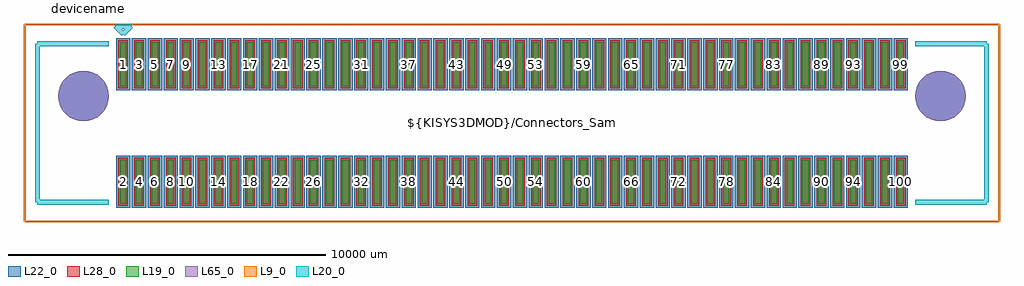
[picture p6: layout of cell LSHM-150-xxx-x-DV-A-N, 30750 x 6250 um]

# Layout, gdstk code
import gdstk
lib = gdstk.Library(unit=1e-6, precision=1e-09)
def R(c, l, rs):  # rectangles x0, y0, x1, y1
    for r in rs: c.add(gdstk.rectangle(r[:2], r[2:], *l))
def A(c, l, x, y, w, h, nx, ny, dx, dy):  # array of equal rectangles
    R(c, l, [(x+i*dx, y+j*dy, x+i*dx+w, y+j*dy+h) for i in range(nx) for j in range(ny)])
def P(c, l, *ps):  # polygons
    for p in ps: c.add(gdstk.Polygon(p, *l))
L9_0 = (9, 0)
L19_0 = (19, 0)
L20_0 = (20, 0)
L22_0 = (22, 0)
L28_0 = (28, 0)
L65_0 = (65, 0)

lshm_150_xxx_x_dv_a_n = lib.new_cell('LSHM-150-xxx-x-DV-A-N')
A(lshm_150_xxx_x_dv_a_n, L19_0, -12350, -2550, 200, 1400, 50, 2, 500, 3700)
A(lshm_150_xxx_x_dv_a_n, L22_0, -12475, -2675, 450, 1650, 50, 2, 500, 3700)
P(lshm_150_xxx_x_dv_a_n, L22_0, [(-12700,850),(-12715.372,1006.072),(-12760.896,1156.147),(-12834.824,1294.456),(-12934.315,1415.685),(-13055.544,1515.176),(-13193.853,1589.104),(-13343.928,1634.628),(-13500,1650),(-13656.072,1634.628),(-13806.147,1589.104),(-13944.456,1515.176),(-14065.685,1415.685),(-14165.176,1294.456),(-14239.104,1156.147),(-14284.628,1006.072),(-14300,850),(-14284.628,693.928),(-14239.104,543.853),(-14165.176,405.544),(-14065.685,284.315),(-13944.456,184.824),(-13806.147,110.896),(-13656.072,65.372),(-13500,50),(-13343.928,65.372),(-13193.853,110.896),(-13055.544,184.824),(-12934.315,284.315),(-12834.824,405.544),(-12760.896,543.853),(-12715.372,693.928)],
  [(14300,850),(14284.628,1006.072),(14239.104,1156.147),(14165.176,1294.456),(14065.685,1415.685),(13944.456,1515.176),(13806.147,1589.104),(13656.072,1634.628),(13500,1650),(13343.928,1634.628),(13193.853,1589.104),(13055.544,1515.176),(12934.315,1415.685),(12834.824,1294.456),(12760.896,1156.147),(12715.372,1006.072),(12700,850),(12715.372,693.928),(12760.896,543.853),(12834.824,405.544),(12934.315,284.315),(13055.544,184.824),(13193.853,110.896),(13343.928,65.372),(13500,50),(13656.072,65.372),(13806.147,110.896),(13944.456,184.824),(14065.685,284.315),(14165.176,405.544),(14239.104,543.853),(14284.628,693.928)])
A(lshm_150_xxx_x_dv_a_n, L28_0, -12400, -2600, 300, 1500, 50, 2, 500, 3700)
P(lshm_150_xxx_x_dv_a_n, L65_0, [(-12700,850),(-12715.372,1006.072),(-12760.896,1156.147),(-12834.824,1294.456),(-12934.315,1415.685),(-13055.544,1515.176),(-13193.853,1589.104),(-13343.928,1634.628),(-13500,1650),(-13656.072,1634.628),(-13806.147,1589.104),(-13944.456,1515.176),(-14065.685,1415.685),(-14165.176,1294.456),(-14239.104,1156.147),(-14284.628,1006.072),(-14300,850),(-14284.628,693.928),(-14239.104,543.853),(-14165.176,405.544),(-14065.685,284.315),(-13944.456,184.824),(-13806.147,110.896),(-13656.072,65.372),(-13500,50),(-13343.928,65.372),(-13193.853,110.896),(-13055.544,184.824),(-12934.315,284.315),(-12834.824,405.544),(-12760.896,543.853),(-12715.372,693.928)],
  [(14300,850),(14284.628,1006.072),(14239.104,1156.147),(14165.176,1294.456),(14065.685,1415.685),(13944.456,1515.176),(13806.147,1589.104),(13656.072,1634.628),(13500,1650),(13343.928,1634.628),(13193.853,1589.104),(13055.544,1515.176),(12934.315,1415.685),(12834.824,1294.456),(12760.896,1156.147),(12715.372,1006.072),(12700,850),(12715.372,693.928),(12760.896,543.853),(12834.824,405.544),(12934.315,284.315),(13055.544,184.824),(13193.853,110.896),(13343.928,65.372),(13500,50),(13656.072,65.372),(13806.147,110.896),(13944.456,184.824),(14065.685,284.315),(14165.176,405.544),(14239.104,543.853),(14284.628,693.928)])
lshm_150_xxx_x_dv_a_n.add(gdstk.FlexPath([(14950,2500),(12700,2500)], 149.998, ends="flush", simple_path=True, layer=20, datatype=0))  # L20_0
lshm_150_xxx_x_dv_a_n.add(gdstk.FlexPath([(-14950,2500),(-12700,2500)], 149.998, ends="flush", simple_path=True, layer=20, datatype=0))  # L20_0
lshm_150_xxx_x_dv_a_n.add(gdstk.FlexPath([(14950,-2500),(12700,-2500)], 149.998, ends="flush", simple_path=True, layer=20, datatype=0))  # L20_0
lshm_150_xxx_x_dv_a_n.add(gdstk.FlexPath([(-14950,-2500),(-12700,-2500)], 149.998, ends="flush", simple_path=True, layer=20, datatype=0))  # L20_0
lshm_150_xxx_x_dv_a_n.add(gdstk.FlexPath([(14950,2500),(14950,-2500)], 149.998, ends="flush", simple_path=True, layer=20, datatype=0))  # L20_0
lshm_150_xxx_x_dv_a_n.add(gdstk.FlexPath([(-14950,2500),(-14950,-2500)], 149.998, ends="flush", simple_path=True, layer=20, datatype=0))  # L20_0
lshm_150_xxx_x_dv_a_n.add(gdstk.FlexPath([(15350,-3100),(15350,3100)], 50, ends="flush", simple_path=True, layer=9, datatype=0))  # L9_0
lshm_150_xxx_x_dv_a_n.add(gdstk.FlexPath([(-15350,-3100),(-15350,3100)], 50, ends="flush", simple_path=True, layer=9, datatype=0))  # L9_0
lshm_150_xxx_x_dv_a_n.add(gdstk.FlexPath([(-15350,3100),(15350,3100)], 50, ends="flush", simple_path=True, layer=9, datatype=0))  # L9_0
lshm_150_xxx_x_dv_a_n.add(gdstk.FlexPath([(-15350,-3100),(15350,-3100)], 50, ends="flush", simple_path=True, layer=9, datatype=0))  # L9_0
lshm_150_xxx_x_dv_a_n.add(gdstk.FlexPath([(-12250,2800),(-12000,3050)], 149.998, ends="flush", simple_path=True, layer=20, datatype=0))  # L20_0
lshm_150_xxx_x_dv_a_n.add(gdstk.FlexPath([(-12000,3050),(-12500,3050)], 149.998, ends="flush", simple_path=True, layer=20, datatype=0))  # L20_0
lshm_150_xxx_x_dv_a_n.add(gdstk.FlexPath([(-12500,3050),(-12250,2800)], 149.998, ends="flush", simple_path=True, layer=20, datatype=0))  # L20_0
lshm_150_xxx_x_dv_a_n.add(gdstk.Label('${KISYS3DMOD}/Connectors_Samtec.3dshapes/LSHM-150-xxx-x-DV-A-N.wrl', (0,0), layer=12, texttype=0))
lshm_150_xxx_x_dv_a_n.add(gdstk.Label('2', (-12250,-1850), layer=28, texttype=0))
lshm_150_xxx_x_dv_a_n.add(gdstk.Label('1', (-12250,1850), layer=28, texttype=0))
lshm_150_xxx_x_dv_a_n.add(gdstk.Label('3', (-11750,1850), layer=28, texttype=0))
lshm_150_xxx_x_dv_a_n.add(gdstk.Label('4', (-11750,-1850), layer=28, texttype=0))
lshm_150_xxx_x_dv_a_n.add(gdstk.Label('8', (-10750,-1850), layer=28, texttype=0))
lshm_150_xxx_x_dv_a_n.add(gdstk.Label('7', (-10750,1850), layer=28, texttype=0))
lshm_150_xxx_x_dv_a_n.add(gdstk.Label('5', (-11250,1850), layer=28, texttype=0))
lshm_150_xxx_x_dv_a_n.add(gdstk.Label('6', (-11250,-1850), layer=28, texttype=0))
lshm_150_xxx_x_dv_a_n.add(gdstk.Label('14', (-9250,-1850), layer=28, texttype=0))
lshm_150_xxx_x_dv_a_n.add(gdstk.Label('13', (-9250,1850), layer=28, texttype=0))
lshm_150_xxx_x_dv_a_n.add(gdstk.Label('15', (-8750,1850), layer=28, texttype=0))
lshm_150_xxx_x_dv_a_n.add(gdstk.Label('16', (-8750,-1850), layer=28, texttype=0))
lshm_150_xxx_x_dv_a_n.add(gdstk.Label('12', (-9750,-1850), layer=28, texttype=0))
lshm_150_xxx_x_dv_a_n.add(gdstk.Label('11', (-9750,1850), layer=28, texttype=0))
lshm_150_xxx_x_dv_a_n.add(gdstk.Label('9', (-10250,1850), layer=28, texttype=0))
lshm_150_xxx_x_dv_a_n.add(gdstk.Label('10', (-10250,-1850), layer=28, texttype=0))
lshm_150_xxx_x_dv_a_n.add(gdstk.Label('26', (-6250,-1850), layer=28, texttype=0))
lshm_150_xxx_x_dv_a_n.add(gdstk.Label('25', (-6250,1850), layer=28, texttype=0))
lshm_150_xxx_x_dv_a_n.add(gdstk.Label('27', (-5750,1850), layer=28, texttype=0))
lshm_150_xxx_x_dv_a_n.add(gdstk.Label('28', (-5750,-1850), layer=28, texttype=0))
lshm_150_xxx_x_dv_a_n.add(gdstk.Label('32', (-4750,-1850), layer=28, texttype=0))
lshm_150_xxx_x_dv_a_n.add(gdstk.Label('31', (-4750,1850), layer=28, texttype=0))
lshm_150_xxx_x_dv_a_n.add(gdstk.Label('29', (-5250,1850), layer=28, texttype=0))
lshm_150_xxx_x_dv_a_n.add(gdstk.Label('30', (-5250,-1850), layer=28, texttype=0))
lshm_150_xxx_x_dv_a_n.add(gdstk.Label('22', (-7250,-1850), layer=28, texttype=0))
lshm_150_xxx_x_dv_a_n.add(gdstk.Label('21', (-7250,1850), layer=28, texttype=0))
lshm_150_xxx_x_dv_a_n.add(gdstk.Label('23', (-6750,1850), layer=28, texttype=0))
lshm_150_xxx_x_dv_a_n.add(gdstk.Label('24', (-6750,-1850), layer=28, texttype=0))
lshm_150_xxx_x_dv_a_n.add(gdstk.Label('20', (-7750,-1850), layer=28, texttype=0))
lshm_150_xxx_x_dv_a_n.add(gdstk.Label('19', (-7750,1850), layer=28, texttype=0))
lshm_150_xxx_x_dv_a_n.add(gdstk.Label('17', (-8250,1850), layer=28, texttype=0))
lshm_150_xxx_x_dv_a_n.add(gdstk.Label('18', (-8250,-1850), layer=28, texttype=0))
lshm_150_xxx_x_dv_a_n.add(gdstk.Label('38', (-3250,-1850), layer=28, texttype=0))
lshm_150_xxx_x_dv_a_n.add(gdstk.Label('37', (-3250,1850), layer=28, texttype=0))
lshm_150_xxx_x_dv_a_n.add(gdstk.Label('39', (-2750,1850), layer=28, texttype=0))
lshm_150_xxx_x_dv_a_n.add(gdstk.Label('40', (-2750,-1850), layer=28, texttype=0))
lshm_150_xxx_x_dv_a_n.add(gdstk.Label('36', (-3750,-1850), layer=28, texttype=0))
lshm_150_xxx_x_dv_a_n.add(gdstk.Label('35', (-3750,1850), layer=28, texttype=0))
lshm_150_xxx_x_dv_a_n.add(gdstk.Label('33', (-4250,1850), layer=28, texttype=0))
lshm_150_xxx_x_dv_a_n.add(gdstk.Label('34', (-4250,-1850), layer=28, texttype=0))
lshm_150_xxx_x_dv_a_n.add(gdstk.Label('54', (750,-1850), layer=28, texttype=0))
lshm_150_xxx_x_dv_a_n.add(gdstk.Label('53', (750,1850), layer=28, texttype=0))
lshm_150_xxx_x_dv_a_n.add(gdstk.Label('55', (1250,1850), layer=28, texttype=0))
lshm_150_xxx_x_dv_a_n.add(gdstk.Label('56', (1250,-1850), layer=28, texttype=0))
lshm_150_xxx_x_dv_a_n.add(gdstk.Label('60', (2250,-1850), layer=28, texttype=0))
lshm_150_xxx_x_dv_a_n.add(gdstk.Label('59', (2250,1850), layer=28, texttype=0))
lshm_150_xxx_x_dv_a_n.add(gdstk.Label('57', (1750,1850), layer=28, texttype=0))
lshm_150_xxx_x_dv_a_n.add(gdstk.Label('58', (1750,-1850), layer=28, texttype=0))
lshm_150_xxx_x_dv_a_n.add(gdstk.Label('44', (-1750,-1850), layer=28, texttype=0))
lshm_150_xxx_x_dv_a_n.add(gdstk.Label('43', (-1750,1850), layer=28, texttype=0))
lshm_150_xxx_x_dv_a_n.add(gdstk.Label('41', (-2250,1850), layer=28, texttype=0))
lshm_150_xxx_x_dv_a_n.add(gdstk.Label('42', (-2250,-1850), layer=28, texttype=0))
lshm_150_xxx_x_dv_a_n.add(gdstk.Label('50', (-250,-1850), layer=28, texttype=0))
lshm_150_xxx_x_dv_a_n.add(gdstk.Label('49', (-250,1850), layer=28, texttype=0))
lshm_150_xxx_x_dv_a_n.add(gdstk.Label('51', (250,1850), layer=28, texttype=0))
lshm_150_xxx_x_dv_a_n.add(gdstk.Label('52', (250,-1850), layer=28, texttype=0))
lshm_150_xxx_x_dv_a_n.add(gdstk.Label('48', (-750,-1850), layer=28, texttype=0))
lshm_150_xxx_x_dv_a_n.add(gdstk.Label('47', (-750,1850), layer=28, texttype=0))
lshm_150_xxx_x_dv_a_n.add(gdstk.Label('45', (-1250,1850), layer=28, texttype=0))
lshm_150_xxx_x_dv_a_n.add(gdstk.Label('46', (-1250,-1850), layer=28, texttype=0))
lshm_150_xxx_x_dv_a_n.add(gdstk.Label('66', (3750,-1850), layer=28, texttype=0))
lshm_150_xxx_x_dv_a_n.add(gdstk.Label('65', (3750,1850), layer=28, texttype=0))
lshm_150_xxx_x_dv_a_n.add(gdstk.Label('67', (4250,1850), layer=28, texttype=0))
lshm_150_xxx_x_dv_a_n.add(gdstk.Label('68', (4250,-1850), layer=28, texttype=0))
lshm_150_xxx_x_dv_a_n.add(gdstk.Label('72', (5250,-1850), layer=28, texttype=0))
lshm_150_xxx_x_dv_a_n.add(gdstk.Label('71', (5250,1850), layer=28, texttype=0))
lshm_150_xxx_x_dv_a_n.add(gdstk.Label('69', (4750,1850), layer=28, texttype=0))
lshm_150_xxx_x_dv_a_n.add(gdstk.Label('70', (4750,-1850), layer=28, texttype=0))
lshm_150_xxx_x_dv_a_n.add(gdstk.Label('62', (2750,-1850), layer=28, texttype=0))
lshm_150_xxx_x_dv_a_n.add(gdstk.Label('61', (2750,1850), layer=28, texttype=0))
lshm_150_xxx_x_dv_a_n.add(gdstk.Label('63', (3250,1850), layer=28, texttype=0))
lshm_150_xxx_x_dv_a_n.add(gdstk.Label('64', (3250,-1850), layer=28, texttype=0))
lshm_150_xxx_x_dv_a_n.add(gdstk.Label('78', (6750,-1850), layer=28, texttype=0))
lshm_150_xxx_x_dv_a_n.add(gdstk.Label('77', (6750,1850), layer=28, texttype=0))
lshm_150_xxx_x_dv_a_n.add(gdstk.Label('79', (7250,1850), layer=28, texttype=0))
lshm_150_xxx_x_dv_a_n.add(gdstk.Label('80', (7250,-1850), layer=28, texttype=0))
lshm_150_xxx_x_dv_a_n.add(gdstk.Label('76', (6250,-1850), layer=28, texttype=0))
lshm_150_xxx_x_dv_a_n.add(gdstk.Label('75', (6250,1850), layer=28, texttype=0))
lshm_150_xxx_x_dv_a_n.add(gdstk.Label('73', (5750,1850), layer=28, texttype=0))
lshm_150_xxx_x_dv_a_n.add(gdstk.Label('74', (5750,-1850), layer=28, texttype=0))
lshm_150_xxx_x_dv_a_n.add(gdstk.Label('94', (10750,-1850), layer=28, texttype=0))
lshm_150_xxx_x_dv_a_n.add(gdstk.Label('93', (10750,1850), layer=28, texttype=0))
lshm_150_xxx_x_dv_a_n.add(gdstk.Label('95', (11250,1850), layer=28, texttype=0))
lshm_150_xxx_x_dv_a_n.add(gdstk.Label('96', (11250,-1850), layer=28, texttype=0))
lshm_150_xxx_x_dv_a_n.add(gdstk.Label('100', (12250,-1850), layer=28, texttype=0))
lshm_150_xxx_x_dv_a_n.add(gdstk.Label('99', (12250,1850), layer=28, texttype=0))
lshm_150_xxx_x_dv_a_n.add(gdstk.Label('97', (11750,1850), layer=28, texttype=0))
lshm_150_xxx_x_dv_a_n.add(gdstk.Label('98', (11750,-1850), layer=28, texttype=0))
lshm_150_xxx_x_dv_a_n.add(gdstk.Label('84', (8250,-1850), layer=28, texttype=0))
lshm_150_xxx_x_dv_a_n.add(gdstk.Label('83', (8250,1850), layer=28, texttype=0))
lshm_150_xxx_x_dv_a_n.add(gdstk.Label('81', (7750,1850), layer=28, texttype=0))
lshm_150_xxx_x_dv_a_n.add(gdstk.Label('82', (7750,-1850), layer=28, texttype=0))
lshm_150_xxx_x_dv_a_n.add(gdstk.Label('90', (9750,-1850), layer=28, texttype=0))
lshm_150_xxx_x_dv_a_n.add(gdstk.Label('89', (9750,1850), layer=28, texttype=0))
lshm_150_xxx_x_dv_a_n.add(gdstk.Label('91', (10250,1850), layer=28, texttype=0))
lshm_150_xxx_x_dv_a_n.add(gdstk.Label('92', (10250,-1850), layer=28, texttype=0))
lshm_150_xxx_x_dv_a_n.add(gdstk.Label('88', (9250,-1850), layer=28, texttype=0))
lshm_150_xxx_x_dv_a_n.add(gdstk.Label('87', (9250,1850), layer=28, texttype=0))
lshm_150_xxx_x_dv_a_n.add(gdstk.Label('85', (8750,1850), layer=28, texttype=0))
lshm_150_xxx_x_dv_a_n.add(gdstk.Label('86', (8750,-1850), layer=28, texttype=0))
lshm_150_xxx_x_dv_a_n.add(gdstk.Label('type', (0,-4250), layer=9, texttype=0))
lshm_150_xxx_x_dv_a_n.add(gdstk.Label('devicename', (-13350,3650), layer=9, texttype=0))

lib.write_gds('LSHM-150-xxx-x-DV-A-N.gds')
